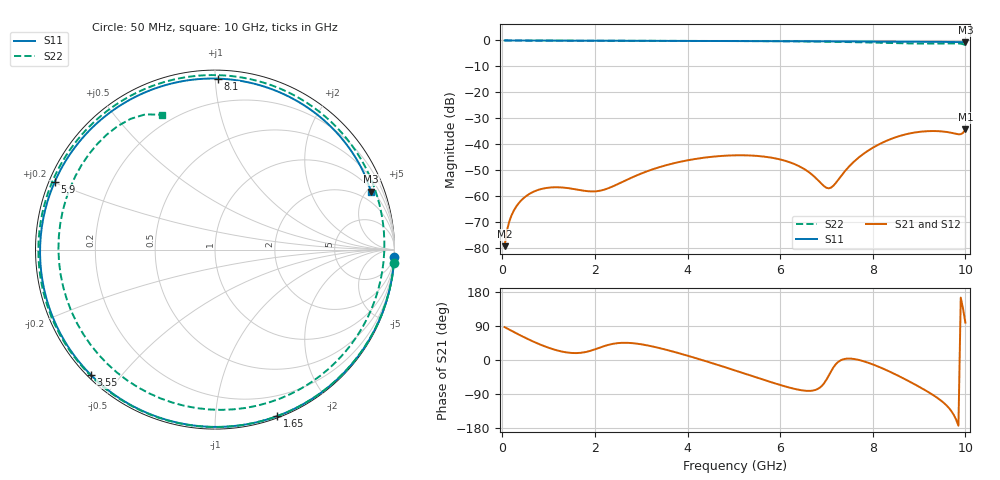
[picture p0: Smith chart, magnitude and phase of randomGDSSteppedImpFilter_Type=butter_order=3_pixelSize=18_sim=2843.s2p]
! freq	dB(S11)	phase(S11)	dB(S12)	phase(S12)
!  dB(S21)	phase(S21)	dB(S22)	phase(S22)
!S-par simulation data
#  GHz  S  DB  R 50
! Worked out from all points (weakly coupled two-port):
!   200 points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, 50 MHz to 10 GHz, reference 50 ohm
!   highest |S21| = -34.32 dB at 10 GHz (marker M1); lowest = -79.3 dB at 50 MHz (marker M2)
!   lowest |S11| = -0.7 dB at 10 GHz (marker M3), VSWR 26.53, Z = 57.4 + j265 ohm
!   |S11| at or under -10 dB: nowhere
!   |S22| runs from -1.9 to 0.0 dB; largest |S21 - S12| = 0
!   S11 on the Smith chart (normalised r, x): 50 MHz: 0, -51; 1.65 GHz: 0.01, -1.44; 3.55 GHz: 0.01, -0.42; 5.9 GHz: 0.02, +0.20; 8.1 GHz: 0.05, +1.02; 10 GHz: 1.15, +5.31
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0.05  -0.00 -2.2  -79.31 86.7  -79.31 86.7  -0.00 -4.4
0.1  -0.00 -4.4  -73.32 83.5  -73.32 83.5  -0.01 -8.8
0.2  -0.01 -8.9  -67.41 77.0  -67.41 77.0  -0.03 -17.5
0.5  -0.03 -21.9  -60.20 58.3  -60.20 58.3  -0.06 -42.6
1.05  -0.06 -45.3  -56.67 30.2  -56.67 30.2  -0.09 -83.7
1.65  -0.08 -69.5  -57.61 18.5  -57.61 18.5  -0.11 -119.9
1.75  -0.09 -73.3  -57.90 19.9  -57.90 19.9  -0.12 -125.2
2.55  -0.12 -102.3  -54.91 45.1  -54.91 45.1  -0.13 -162.1
3.4  -0.15 -130.1  -48.81 31.3  -48.81 31.3  -0.15 164.8
3.55  -0.15 -134.7  -48.04 26.7  -48.04 26.7  -0.15 159.3
4.25  -0.18 -155.6  -45.46 2.3  -45.46 2.3  -0.18 133.8
5.05  -0.22 -178.6  -44.27 -28.5  -44.27 -28.5  -0.22 103.4
5.9  -0.27 157.1  -45.48 -62.1  -45.48 -62.1  -0.29 67.2
6.7  -0.32 133.6  -51.91 -80.7  -51.91 -80.7  -0.40 26.5
7.1  -0.35 121.4  -56.72 -29.5  -56.72 -29.5  -0.49 2.7
7.6  -0.38 105.5  -46.62 2.6  -46.62 2.6  -0.66 -31.4
8.1  -0.42 88.9  -40.37 -16.4  -40.37 -16.4  -0.88 -70.6
8.35  -0.44 80.3  -38.28 -29.8  -38.28 -29.8  -1.00 -92.2
8.75  -0.47 66.3  -36.03 -54.1  -36.03 -54.1  -1.15 -128.6
9.25  -0.52 48.1  -34.93 -88.4  -34.93 -88.4  -1.19 -175.5
9.65  -0.57 33.2  -35.43 -127.5  -35.43 -127.5  -1.11 147.5
10  -0.66 20.4  -34.32 98.4  -34.32 98.4  -1.86 111.5
